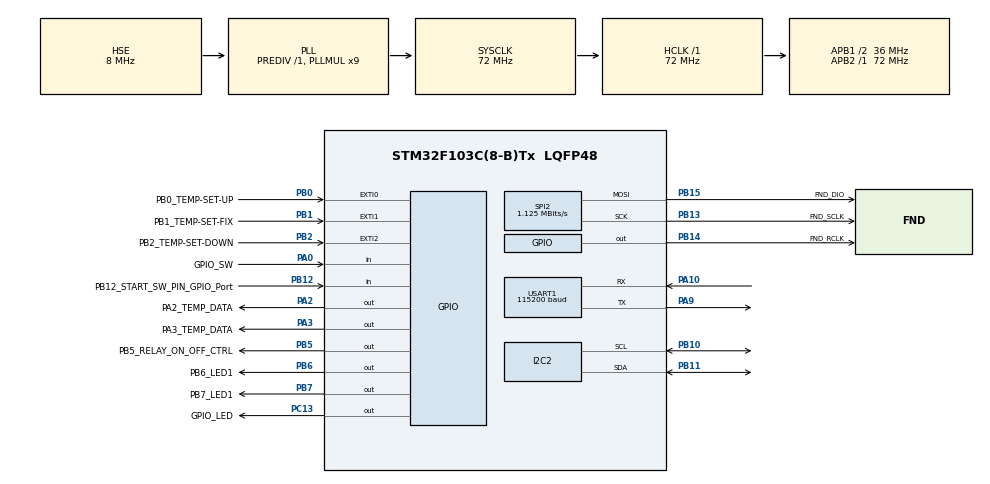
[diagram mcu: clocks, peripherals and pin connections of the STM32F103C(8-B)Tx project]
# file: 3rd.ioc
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I2C2.I2C_Mode=I2C_Fast
Mcu.Family=STM32F1
Mcu.Name=STM32F103C(8-B)Tx
Mcu.Package=LQFP48
NVIC.EXTI0_IRQn=true\:9\:0\:true\:false\:true\:true\:true
NVIC.EXTI1_IRQn=true\:9\:0\:true\:false\:true\:true\:true
NVIC.EXTI2_IRQn=true\:9\:0\:true\:false\:true\:true\:true
NVIC.PriorityGroup=NVIC_PRIORITYGROUP_4
NVIC.TIM2_IRQn=true\:0\:0\:false\:false\:true\:true\:true
NVIC.TIM3_IRQn=true\:10\:0\:true\:false\:true\:true\:true
PA0-WKUP.GPIO_Label=GPIO_SW
PA0-WKUP.GPIO_Mode=GPIO_MODE_INPUT
PA0-WKUP.GPIO_PuPd=GPIO_PULLUP
PA0-WKUP.Signal=GPIO_Input
PA10.Mode=Asynchronous
PA10.Signal=USART1_RX
PA13.Mode=Serial_Wire
PA13.Signal=SYS_JTMS-SWDIO
PA14.Mode=Serial_Wire
PA14.Signal=SYS_JTCK-SWCLK
PA2.GPIO_Label=PA2_TEMP_DATA
PA2.GPIO_ModeDefaultOutputPP=GPIO_MODE_OUTPUT_PP
PA2.GPIO_PuPd=GPIO_PULLUP
PA2.GPIO_Speed=GPIO_SPEED_FREQ_HIGH
PA2.PinState=GPIO_PIN_SET
PA2.Signal=GPIO_Output
PA3.GPIO_Label=PA3_TEMP_DATA
PA3.GPIO_ModeDefaultOutputPP=GPIO_MODE_OUTPUT_PP
PA3.GPIO_PuPd=GPIO_PULLUP
PA3.GPIO_Speed=GPIO_SPEED_FREQ_HIGH
PA3.PinState=GPIO_PIN_SET
PA3.Signal=GPIO_Output
PA9.Mode=Asynchronous
PA9.Signal=USART1_TX
PB0.GPIO_Label=PB0_TEMP-SET-UP
PB0.GPIO_ModeDefaultEXTI=GPIO_MODE_IT_FALLING
PB0.GPIO_PuPd=GPIO_PULLUP
PB0.Signal=GPXTI0
PB1.GPIO_Label=PB1_TEMP-SET-FIX
PB1.GPIO_ModeDefaultEXTI=GPIO_MODE_IT_FALLING
PB1.GPIO_PuPd=GPIO_PULLUP
PB1.Signal=GPXTI1
PB10.Mode=I2C
PB10.Signal=I2C2_SCL
PB11.Mode=I2C
PB11.Signal=I2C2_SDA
PB12.GPIO_Label=PB12_START_SW_PIN_GPIO_Port
PB12.GPIO_Mode=GPIO_MODE_INPUT
PB12.GPIO_PuPd=GPIO_PULLUP
PB12.Signal=GPIO_Input
PB13.GPIO_Label=FND_SCLK
PB13.Mode=TX_Only_Simplex_Unidirect_Master
PB13.Signal=SPI2_SCK
PB14.GPIO_Label=FND_RCLK
PB14.GPIO_ModeDefaultOutputPP=GPIO_MODE_OUTPUT_PP
PB14.GPIO_PuPd=GPIO_PULLUP
PB14.GPIO_Speed=GPIO_SPEED_FREQ_HIGH
PB14.PinState=GPIO_PIN_SET
PB14.Signal=GPIO_Output
PB15.GPIO_Label=FND_DIO
PB15.Mode=TX_Only_Simplex_Unidirect_Master
PB15.Signal=SPI2_MOSI
PB2.GPIO_Label=PB2_TEMP-SET-DOWN
PB2.GPIO_ModeDefaultEXTI=GPIO_MODE_IT_FALLING
PB2.GPIO_PuPd=GPIO_PULLUP
PB2.Signal=GPXTI2
PB5.GPIO_Label=PB5_RELAY_ON_OFF_CTRL
PB5.GPIO_ModeDefaultOutputPP=GPIO_MODE_OUTPUT_PP
PB5.GPIO_PuPd=GPIO_PULLDOWN
PB5.GPIO_Speed=GPIO_SPEED_FREQ_HIGH
PB5.PinState=GPIO_PIN_RESET
PB5.Signal=GPIO_Output
PB6.GPIO_Label=PB6_LED1
PB6.GPIO_ModeDefaultOutputPP=GPIO_MODE_OUTPUT_PP
PB6.GPIO_PuPd=GPIO_PULLUP
PB6.GPIO_Speed=GPIO_SPEED_FREQ_HIGH
PB6.PinState=GPIO_PIN_SET
PB6.Signal=GPIO_Output
PB7.GPIO_Label=PB7_LED1
PB7.GPIO_ModeDefaultOutputPP=GPIO_MODE_OUTPUT_PP
PB7.GPIO_PuPd=GPIO_PULLUP
PB7.GPIO_Speed=GPIO_SPEED_FREQ_HIGH
PB7.PinState=GPIO_PIN_SET
PB7.Signal=GPIO_Output
PC13-TAMPER-RTC.GPIO_Label=GPIO_LED
PC13-TAMPER-RTC.GPIO_ModeDefaultOutputPP=GPIO_MODE_OUTPUT_OD
PC13-TAMPER-RTC.GPIO_PuPd=GPIO_NOPULL
PC13-TAMPER-RTC.GPIO_Speed=GPIO_SPEED_FREQ_HIGH
PC13-TAMPER-RTC.PinState=GPIO_PIN_SET
PC13-TAMPER-RTC.Signal=GPIO_Output
PC14-OSC32_IN.Mode=LSE-External-Oscillator
PC14-OSC32_IN.Signal=RCC_OSC32_IN
PC15-OSC32_OUT.Mode=LSE-External-Oscillator
PC15-OSC32_OUT.Signal=RCC_OSC32_OUT
PD0-OSC_IN.Mode=HSE-External-Oscillator
PD0-OSC_IN.Signal=RCC_OSC_IN
PD1-OSC_OUT.Mode=HSE-External-Oscillator
PD1-OSC_OUT.Signal=RCC_OSC_OUT
ProjectManager.HeapSize=0x200
ProjectManager.StackSize=0x400
ProjectManager.TargetToolchain=STM32CubeIDE
RCC.AHBFreq_Value=72000000
RCC.APB1CLKDivider=RCC_HCLK_DIV2
RCC.APB1Freq_Value=36000000
RCC.APB1TimFreq_Value=72000000
RCC.APB2Freq_Value=72000000
RCC.APB2TimFreq_Value=72000000
RCC.HCLKFreq_Value=72000000
RCC.PLLMUL=RCC_PLL_MUL9
RCC.PLLSourceVirtual=RCC_PLLSOURCE_HSE
RCC.SYSCLKFreq_VALUE=72000000
RCC.SYSCLKSource=RCC_SYSCLKSOURCE_PLLCLK
RCC.USBFreq_Value=72000000
SPI2.BaudRatePrescaler=SPI_BAUDRATEPRESCALER_32
SPI2.CLKPolarity=SPI_POLARITY_HIGH
SPI2.CalculateBaudRate=1.125 MBits/s
SPI2.Direction=SPI_DIRECTION_2LINES
SPI2.Mode=SPI_MODE_MASTER
SPI2.VirtualType=VM_MASTER
TIM2.Period=0xFFFF
TIM2.Prescaler=71
TIM3.Period=49
TIM3.Prescaler=71
USART1.BaudRate=115200
USART1.StopBits=STOPBITS_1
USART1.VirtualMode=VM_ASYNC
VP_TIM2_VS_ClockSourceINT.Mode=Internal
VP_TIM3_VS_ClockSourceINT.Mode=Internal
board=custom

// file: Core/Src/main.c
/* USER CODE BEGIN Header */
/**
  ******************************************************************************
  * @file           : main.c
  * @brief          : Main program body
  ******************************************************************************
  * @attention
  *
  * <h2><center>&copy; Copyright (c) 2021 STMicroelectronics.
  * All rights reserved.</center></h2>
  *
  * This software component is licensed by ST under BSD 3-Clause license,
  * the "License"; You may not use this file except in compliance with the
  * License. You may obtain a copy of the License at:
  *                        opensource.org/licenses/BSD-3-Clause
  *
  ******************************************************************************
  */
/* USER CODE END Header */
#include "main.h"

/* USER CODE BEGIN Includes */
#include <stdio.h>
#include "fnd_controller.h"
#include "ds18b20.h"
#include "heaterController.h"
#include "fonts.h"
#include "ssd1306.h"
#include "test.h"
#include "bitmap.h"
#include "horse_anim.h"
#include "oledController.h"
#include "g_var.h"
#include "buttonController.h"
//#include "utils.h"
/* USER CODE END Includes */

/* USER CODE BEGIN PTD */
#include <stdio.h>
/* USER CODE END PTD */

I2C_HandleTypeDef hi2c2;

SPI_HandleTypeDef hspi2;

TIM_HandleTypeDef htim2;
TIM_HandleTypeDef htim3;

UART_HandleTypeDef huart1;

/* USER CODE BEGIN PV */

int _write(int file,char * p, int len){
	HAL_UART_Transmit(&huart1, (uint8_t *)p, len, 10);
	return len;
}

/* USER CODE END PV */

void SystemClock_Config(void);
static void MX_GPIO_Init(void);
static void MX_USART1_UART_Init(void);
static void MX_TIM2_Init(void);
static void MX_TIM3_Init(void);
static void MX_I2C2_Init(void);
static void MX_SPI2_Init(void);

/* USER CODE BEGIN 0 */
/*int _write(int file,char * p, int len){
	HAL_UART_Transmit(&huart1, (uint8_t *)p, len, 10);
	return len;
}*/

/* USER CODE END 0 */

int main(void)
{
  /* USER CODE BEGIN 1 */

	float temper = 0.0;
  /* USER CODE END 1 */

  /* MCU Configuration--------------------------------------------------------*/

  /* Reset of all peripherals, Initializes the Flash interface and the Systick. */
  HAL_Init();

  /* Configure the system clock */
  SystemClock_Config();

  /* Initialize all configured peripherals */
  MX_GPIO_Init();
  MX_USART1_UART_Init();
  MX_TIM2_Init();
  MX_TIM3_Init();
  MX_I2C2_Init();
  MX_SPI2_Init();
  /* USER CODE BEGIN 2 */
  SSD1306_Init();
  opening();

  init_fnd(&hspi2);

  HAL_TIM_Base_Start_IT(&htim3);
  Ds18b20_Init_Simple();
  /* USER CODE END 2 */

  /* Infinite loop */
  /* USER CODE BEGIN WHILE */

  static int m_count =0;
  static int m_first =0;
  while (1)
  {

	  checkButton();

	  if((m_count > 100) || !m_first){
		  if(!isConverting()){
				  StartConverting();
			  }

			  checkConverting();

			  if(!isConverting()){
				  temper = getTemper();
				  if(getSwState() == ON_t){
					  heaterControl(temper);
				  }else{
					  if(getHeaterState() == ON_t){
						  heaterOnOff(OFF_t);
					  }
				  }
				  m_count = 0;
				  m_first = 1;
			  }
	  }

	  m_count++;
	  HAL_Delay(10);

    /* USER CODE END WHILE */

  }
}

void SystemClock_Config(void)
{
  RCC_OscInitTypeDef RCC_OscInitStruct = {0};
  RCC_ClkInitTypeDef RCC_ClkInitStruct = {0};

  /** Initializes the RCC Oscillators according to the specified parameters
  * in the RCC_OscInitTypeDef structure.
  */
  RCC_OscInitStruct.OscillatorType = RCC_OSCILLATORTYPE_HSE;
  RCC_OscInitStruct.HSEState = RCC_HSE_ON;
  RCC_OscInitStruct.HSEPredivValue = RCC_HSE_PREDIV_DIV1;
  RCC_OscInitStruct.HSIState = RCC_HSI_ON;
  RCC_OscInitStruct.PLL.PLLState = RCC_PLL_ON;
  RCC_OscInitStruct.PLL.PLLSource = RCC_PLLSOURCE_HSE;
  RCC_OscInitStruct.PLL.PLLMUL = RCC_PLL_MUL9;
  if (HAL_RCC_OscConfig(&RCC_OscInitStruct) != HAL_OK)
  {
    Error_Handler();
  }
  /** Initializes the CPU, AHB and APB buses clocks
  */
  RCC_ClkInitStruct.ClockType = RCC_CLOCKTYPE_HCLK|RCC_CLOCKTYPE_SYSCLK
                              |RCC_CLOCKTYPE_PCLK1|RCC_CLOCKTYPE_PCLK2;
  RCC_ClkInitStruct.SYSCLKSource = RCC_SYSCLKSOURCE_PLLCLK;
  RCC_ClkInitStruct.AHBCLKDivider = RCC_SYSCLK_DIV1;
  RCC_ClkInitStruct.APB1CLKDivider = RCC_HCLK_DIV2;
  RCC_ClkInitStruct.APB2CLKDivider = RCC_HCLK_DIV1;

  if (HAL_RCC_ClockConfig(&RCC_ClkInitStruct, FLASH_LATENCY_2) != HAL_OK)
  {
    Error_Handler();
  }
}

static void MX_I2C2_Init(void)
{

  hi2c2.Instance = I2C2;
  hi2c2.Init.ClockSpeed = 400000;
  hi2c2.Init.DutyCycle = I2C_DUTYCYCLE_2;
  hi2c2.Init.OwnAddress1 = 0;
  hi2c2.Init.AddressingMode = I2C_ADDRESSINGMODE_7BIT;
  hi2c2.Init.DualAddressMode = I2C_DUALADDRESS_DISABLE;
  hi2c2.Init.OwnAddress2 = 0;
  hi2c2.Init.GeneralCallMode = I2C_GENERALCALL_DISABLE;
  hi2c2.Init.NoStretchMode = I2C_NOSTRETCH_DISABLE;
  if (HAL_I2C_Init(&hi2c2) != HAL_OK)
  {
    Error_Handler();
  }

}

static void MX_SPI2_Init(void)
{

  /* SPI2 parameter configuration*/
  hspi2.Instance = SPI2;
  hspi2.Init.Mode = SPI_MODE_MASTER;
  hspi2.Init.Direction = SPI_DIRECTION_2LINES;
  hspi2.Init.DataSize = SPI_DATASIZE_8BIT;
  hspi2.Init.CLKPolarity = SPI_POLARITY_HIGH;
  hspi2.Init.CLKPhase = SPI_PHASE_1EDGE;
  hspi2.Init.NSS = SPI_NSS_SOFT;
  hspi2.Init.BaudRatePrescaler = SPI_BAUDRATEPRESCALER_32;
  hspi2.Init.FirstBit = SPI_FIRSTBIT_MSB;
  hspi2.Init.TIMode = SPI_TIMODE_DISABLE;
  hspi2.Init.CRCCalculation = SPI_CRCCALCULATION_DISABLE;
  hspi2.Init.CRCPolynomial = 10;
  if (HAL_SPI_Init(&hspi2) != HAL_OK)
  {
    Error_Handler();
  }

}

static void MX_TIM2_Init(void)
{

  TIM_ClockConfigTypeDef sClockSourceConfig = {0};
  TIM_MasterConfigTypeDef sMasterConfig = {0};

  htim2.Instance = TIM2;
  htim2.Init.Prescaler = 71;
  htim2.Init.CounterMode = TIM_COUNTERMODE_UP;
  htim2.Init.Period = 0xFFFF;
  htim2.Init.ClockDivision = TIM_CLOCKDIVISION_DIV1;
  htim2.Init.AutoReloadPreload = TIM_AUTORELOAD_PRELOAD_DISABLE;
  if (HAL_TIM_Base_Init(&htim2) != HAL_OK)
  {
    Error_Handler();
  }
  sClockSourceConfig.ClockSource = TIM_CLOCKSOURCE_INTERNAL;
  if (HAL_TIM_ConfigClockSource(&htim2, &sClockSourceConfig) != HAL_OK)
  {
    Error_Handler();
  }
  sMasterConfig.MasterOutputTrigger = TIM_TRGO_RESET;
  sMasterConfig.MasterSlaveMode = TIM_MASTERSLAVEMODE_DISABLE;
  if (HAL_TIMEx_MasterConfigSynchronization(&htim2, &sMasterConfig) != HAL_OK)
  {
    Error_Handler();
  }

}

static void MX_TIM3_Init(void)
{

  TIM_ClockConfigTypeDef sClockSourceConfig = {0};
  TIM_MasterConfigTypeDef sMasterConfig = {0};

  htim3.Instance = TIM3;
  htim3.Init.Prescaler = 71;
  htim3.Init.CounterMode = TIM_COUNTERMODE_UP;
  htim3.Init.Period = 49;
  htim3.Init.ClockDivision = TIM_CLOCKDIVISION_DIV1;
  htim3.Init.AutoReloadPreload = TIM_AUTORELOAD_PRELOAD_DISABLE;
  if (HAL_TIM_Base_Init(&htim3) != HAL_OK)
  {
    Error_Handler();
  }
  sClockSourceConfig.ClockSource = TIM_CLOCKSOURCE_INTERNAL;
  if (HAL_TIM_ConfigClockSource(&htim3, &sClockSourceConfig) != HAL_OK)
  {
    Error_Handler();
  }
  sMasterConfig.MasterOutputTrigger = TIM_TRGO_RESET;
  sMasterConfig.MasterSlaveMode = TIM_MASTERSLAVEMODE_DISABLE;
  if (HAL_TIMEx_MasterConfigSynchronization(&htim3, &sMasterConfig) != HAL_OK)
  {
    Error_Handler();
  }

}

static void MX_USART1_UART_Init(void)
{

  huart1.Instance = USART1;
  huart1.Init.BaudRate = 115200;
  huart1.Init.WordLength = UART_WORDLENGTH_8B;
  huart1.Init.StopBits = UART_STOPBITS_1;
  huart1.Init.Parity = UART_PARITY_NONE;
  huart1.Init.Mode = UART_MODE_TX_RX;
  huart1.Init.HwFlowCtl = UART_HWCONTROL_NONE;
  huart1.Init.OverSampling = UART_OVERSAMPLING_16;
  if (HAL_UART_Init(&huart1) != HAL_OK)
  {
    Error_Handler();
  }

}

static void MX_GPIO_Init(void)
{
  GPIO_InitTypeDef GPIO_InitStruct = {0};

  /* GPIO Ports Clock Enable */
  __HAL_RCC_GPIOC_CLK_ENABLE();
  __HAL_RCC_GPIOD_CLK_ENABLE();
  __HAL_RCC_GPIOA_CLK_ENABLE();
  __HAL_RCC_GPIOB_CLK_ENABLE();

  /*Configure GPIO pin Output Level */
  HAL_GPIO_WritePin(GPIO_LED_GPIO_Port, GPIO_LED_Pin, GPIO_PIN_SET);

  /*Configure GPIO pin Output Level */
  HAL_GPIO_WritePin(GPIOA, PA2_TEMP_DATA_Pin|PA3_TEMP_DATA_Pin, GPIO_PIN_SET);

  /*Configure GPIO pin Output Level */
  HAL_GPIO_WritePin(GPIOB, FND_RCLK_Pin|PB6_LED1_Pin|PB7_LED1_Pin, GPIO_PIN_SET);

  /*Configure GPIO pin Output Level */
  HAL_GPIO_WritePin(PB5_RELAY_ON_OFF_CTRL_GPIO_Port, PB5_RELAY_ON_OFF_CTRL_Pin, GPIO_PIN_RESET);

  /*Configure GPIO pin : GPIO_LED_Pin */
  GPIO_InitStruct.Pin = GPIO_LED_Pin;
  GPIO_InitStruct.Mode = GPIO_MODE_OUTPUT_OD;
  GPIO_InitStruct.Pull = GPIO_NOPULL;
  GPIO_InitStruct.Speed = GPIO_SPEED_FREQ_HIGH;
  HAL_GPIO_Init(GPIO_LED_GPIO_Port, &GPIO_InitStruct);

  /*Configure GPIO pin : GPIO_SW_Pin */
  GPIO_InitStruct.Pin = GPIO_SW_Pin;
  GPIO_InitStruct.Mode = GPIO_MODE_INPUT;
  GPIO_InitStruct.Pull = GPIO_PULLUP;
  HAL_GPIO_Init(GPIO_SW_GPIO_Port, &GPIO_InitStruct);

  /*Configure GPIO pins : PA2_TEMP_DATA_Pin PA3_TEMP_DATA_Pin */
  GPIO_InitStruct.Pin = PA2_TEMP_DATA_Pin|PA3_TEMP_DATA_Pin;
  GPIO_InitStruct.Mode = GPIO_MODE_OUTPUT_PP;
  GPIO_InitStruct.Pull = GPIO_PULLUP;
  GPIO_InitStruct.Speed = GPIO_SPEED_FREQ_HIGH;
  HAL_GPIO_Init(GPIOA, &GPIO_InitStruct);

  /*Configure GPIO pins : PB0_TEMP_SET_UP_Pin PB1_TEMP_SET_FIX_Pin PB2_TEMP_SET_DOWN_Pin */
  GPIO_InitStruct.Pin = PB0_TEMP_SET_UP_Pin|PB1_TEMP_SET_FIX_Pin|PB2_TEMP_SET_DOWN_Pin;
  GPIO_InitStruct.Mode = GPIO_MODE_IT_FALLING;
  GPIO_InitStruct.Pull = GPIO_PULLUP;
  HAL_GPIO_Init(GPIOB, &GPIO_InitStruct);

  /*Configure GPIO pin : PB12_START_SW_PIN_GPIO_Port_Pin */
  GPIO_InitStruct.Pin = PB12_START_SW_PIN_GPIO_Port_Pin;
  GPIO_InitStruct.Mode = GPIO_MODE_INPUT;
  GPIO_InitStruct.Pull = GPIO_PULLUP;
  HAL_GPIO_Init(PB12_START_SW_PIN_GPIO_Port_GPIO_Port, &GPIO_InitStruct);

  /*Configure GPIO pins : FND_RCLK_Pin PB6_LED1_Pin PB7_LED1_Pin */
  GPIO_InitStruct.Pin = FND_RCLK_Pin|PB6_LED1_Pin|PB7_LED1_Pin;
  GPIO_InitStruct.Mode = GPIO_MODE_OUTPUT_PP;
  GPIO_InitStruct.Pull = GPIO_PULLUP;
  GPIO_InitStruct.Speed = GPIO_SPEED_FREQ_HIGH;
  HAL_GPIO_Init(GPIOB, &GPIO_InitStruct);

  /*Configure GPIO pin : PB5_RELAY_ON_OFF_CTRL_Pin */
  GPIO_InitStruct.Pin = PB5_RELAY_ON_OFF_CTRL_Pin;
  GPIO_InitStruct.Mode = GPIO_MODE_OUTPUT_PP;
  GPIO_InitStruct.Pull = GPIO_PULLDOWN;
  GPIO_InitStruct.Speed = GPIO_SPEED_FREQ_HIGH;
  HAL_GPIO_Init(PB5_RELAY_ON_OFF_CTRL_GPIO_Port, &GPIO_InitStruct);

  /* EXTI interrupt init*/
  HAL_NVIC_SetPriority(EXTI0_IRQn, 9, 0);
  HAL_NVIC_EnableIRQ(EXTI0_IRQn);

  HAL_NVIC_SetPriority(EXTI1_IRQn, 9, 0);
  HAL_NVIC_EnableIRQ(EXTI1_IRQn);

  HAL_NVIC_SetPriority(EXTI2_IRQn, 9, 0);
  HAL_NVIC_EnableIRQ(EXTI2_IRQn);

}

void Error_Handler(void)
{
  __disable_irq();
  while (1)
  {
  }
}

/************************ (C) COPYRIGHT STMicroelectronics *****END OF FILE****/
